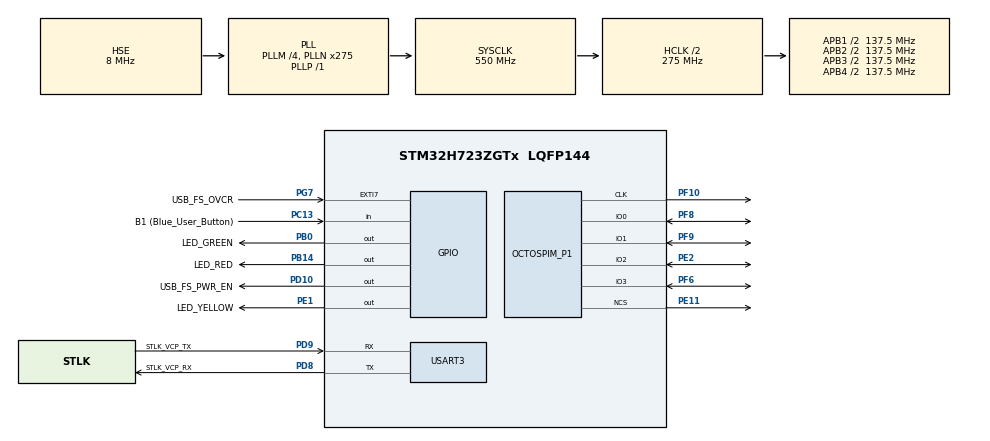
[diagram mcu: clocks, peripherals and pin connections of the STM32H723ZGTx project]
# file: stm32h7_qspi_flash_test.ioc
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CORTEX_M7.CPU_DCache=Enabled
CORTEX_M7.CPU_ICache=Enabled
CORTEX_M7.MPU_Control=__NULL
CORTEX_M7.default_mode_Activation=0
Mcu.Family=STM32H7
Mcu.Name=STM32H723ZGTx
Mcu.Package=LQFP144
Mdma.MDMA_Channel0.OCTOSPI1_FIFO_TH.0.BlockCount=0
Mdma.MDMA_Channel0.OCTOSPI1_FIFO_TH.0.BlockDataLength=0
Mdma.MDMA_Channel0.OCTOSPI1_FIFO_TH.0.BufferTransferLength=1
Mdma.MDMA_Channel0.OCTOSPI1_FIFO_TH.0.CircularMode=MDMA_LINEAR_LIST
Mdma.MDMA_Channel0.OCTOSPI1_FIFO_TH.0.DataAlignment=MDMA_DATAALIGN_PACKENABLE
Mdma.MDMA_Channel0.OCTOSPI1_FIFO_TH.0.DestBlockAddressOffset=0
Mdma.MDMA_Channel0.OCTOSPI1_FIFO_TH.0.DestBurst=MDMA_DEST_BURST_SINGLE
Mdma.MDMA_Channel0.OCTOSPI1_FIFO_TH.0.DestDataSize=MDMA_DEST_DATASIZE_BYTE
Mdma.MDMA_Channel0.OCTOSPI1_FIFO_TH.0.DestinationInc=MDMA_DEST_INC_BYTE
Mdma.MDMA_Channel0.OCTOSPI1_FIFO_TH.0.DstAddress=0
Mdma.MDMA_Channel0.OCTOSPI1_FIFO_TH.0.Endianness=MDMA_LITTLE_ENDIANNESS_PRESERVE
Mdma.MDMA_Channel0.OCTOSPI1_FIFO_TH.0.Instance=MDMA_Channel0
Mdma.MDMA_Channel0.OCTOSPI1_FIFO_TH.0.MaskAddress=0
Mdma.MDMA_Channel0.OCTOSPI1_FIFO_TH.0.MaskData=0
Mdma.MDMA_Channel0.OCTOSPI1_FIFO_TH.0.Priority=MDMA_PRIORITY_LOW
Mdma.MDMA_Channel0.OCTOSPI1_FIFO_TH.0.Rank=First
Mdma.MDMA_Channel0.OCTOSPI1_FIFO_TH.0.SourceBlockAddressOffset=0
Mdma.MDMA_Channel0.OCTOSPI1_FIFO_TH.0.SourceBurst=MDMA_SOURCE_BURST_SINGLE
Mdma.MDMA_Channel0.OCTOSPI1_FIFO_TH.0.SourceDataSize=MDMA_SRC_DATASIZE_BYTE
Mdma.MDMA_Channel0.OCTOSPI1_FIFO_TH.0.SourceInc=MDMA_SRC_INC_BYTE
Mdma.MDMA_Channel0.OCTOSPI1_FIFO_TH.0.SrcAddress=0
Mdma.MDMA_Channel0.OCTOSPI1_FIFO_TH.0.TransferTriggerMode=MDMA_BUFFER_TRANSFER
Mdma.MDMA_Channel0.Request0=OCTOSPI1_FIFO_TH
Mdma.MDMA_Channel0.RequestsNb=1
Mdma.RequestSet0=MDMA_Channel0
Mdma.RequestSetsNb=1
NVIC.MDMA_IRQn=true\:0\:0\:false\:false\:true\:false\:true\:true
NVIC.OCTOSPI1_IRQn=true\:0\:0\:false\:false\:true\:true\:true\:true
NVIC.PriorityGroup=NVIC_PRIORITYGROUP_4
NVIC.USART3_IRQn=true\:0\:0\:false\:false\:true\:true\:true\:true
OCTOSPI1.ChipSelectHighTime=2
OCTOSPI1.ClockPrescaler=1
OCTOSPI1.DeviceSize=17
OCTOSPI1.FifoThreshold=1
OCTOSPI1.MemoryType=HAL_OSPI_MEMTYPE_MICRON
PA13(JTMS/SWDIO).GPIO_Label=SWDIO
PA13(JTMS/SWDIO).Mode=Trace_Asynchronous_SW
PA13(JTMS/SWDIO).Signal=DEBUG_JTMS-SWDIO
PA14(JTCK/SWCLK).GPIO_Label=SWCLK
PA14(JTCK/SWCLK).Mode=Trace_Asynchronous_SW
PA14(JTCK/SWCLK).Signal=DEBUG_JTCK-SWCLK
PB0.GPIO_Label=LED_GREEN
PB0.Signal=GPIO_Output
PB14.GPIO_Label=LED_RED
PB14.Signal=GPIO_Output
PB3(JTDO/TRACESWO).GPIO_Label=SWO
PB3(JTDO/TRACESWO).Mode=Trace_Asynchronous_SW
PB3(JTDO/TRACESWO).Signal=DEBUG_JTDO-SWO
PC13.GPIO_Label=B1 (Blue_User_Button)
PC13.Signal=GPIO_Input
PC14-OSC32_IN.Mode=LSE-External-Oscillator
PC14-OSC32_IN.Signal=RCC_OSC32_IN
PC15-OSC32_OUT.Mode=LSE-External-Oscillator
PC15-OSC32_OUT.Signal=RCC_OSC32_OUT
PD10.GPIO_Label=USB_FS_PWR_EN
PD10.Signal=GPIO_Output
PD8.GPIO_Label=STLK_VCP_RX
PD8.Mode=Asynchronous
PD8.Signal=USART3_TX
PD9.GPIO_Label=STLK_VCP_TX
PD9.Mode=Asynchronous
PD9.Signal=USART3_RX
PE1.GPIO_Label=LED_YELLOW
PE1.Signal=GPIO_Output
PE11.Mode=OCTOSPI1_Port1_NCS
PE11.Signal=OCTOSPIM_P1_NCS
PE2.Mode=OCTOSPI1_IOL_Port1L
PE2.Signal=OCTOSPIM_P1_IO2
PF10.Mode=O1_P1_CLK
PF10.Signal=OCTOSPIM_P1_CLK
PF6.Mode=OCTOSPI1_IOL_Port1L
PF6.Signal=OCTOSPIM_P1_IO3
PF8.Mode=OCTOSPI1_IOL_Port1L
PF8.Signal=OCTOSPIM_P1_IO0
PF9.Mode=OCTOSPI1_IOL_Port1L
PF9.Signal=OCTOSPIM_P1_IO1
PG7.GPIO_Label=USB_FS_OVCR
PG7.Signal=GPXTI7
PH0-OSC_IN.GPIO_Label=MCO
PH0-OSC_IN.Mode=HSE-External-Clock-Source
PH0-OSC_IN.Signal=RCC_OSC_IN
ProjectManager.HeapSize=0x200
ProjectManager.StackSize=0x400
ProjectManager.TargetToolchain=STM32CubeIDE
RCC.ADCFreq_Value=160000000
RCC.APB1Freq_Value=137500000
RCC.APB2Freq_Value=137500000
RCC.APB3Freq_Value=137500000
RCC.APB4Freq_Value=137500000
RCC.CortexFreq_Value=550000000
RCC.D1PPRE=RCC_APB3_DIV2
RCC.D2PPRE1=RCC_APB1_DIV2
RCC.D2PPRE2=RCC_APB2_DIV2
RCC.D3PPRE=RCC_APB4_DIV2
RCC.DIVM1=4
RCC.DIVM2=1
RCC.DIVN1=275
RCC.DIVN2=40
RCC.DIVP1=1
RCC.DIVQ1=15
RCC.DIVR1=4
RCC.DIVR2=8
RCC.HCLKFreq_Value=275000000
RCC.HPRE=RCC_HCLK_DIV2
RCC.HSE_VALUE=8000000
RCC.PLLFRACN=0
RCC.PLLSourceVirtual=RCC_PLLSOURCE_HSE
RCC.QSPICLockSelection=RCC_OSPICLKSOURCE_PLL
RCC.SYSCLKFreq_VALUE=550000000
RCC.SYSCLKSource=RCC_SYSCLKSOURCE_PLLCLK
RCC.USBCLockSelection=RCC_USBCLKSOURCE_HSI48
RCC.USBFreq_Value=48000000
USART3.VirtualMode-Asynchronous=VM_ASYNC
VP_OCTOSPI1_VS_quad.Mode=quad_mode
VP_RTC_VS_RTC_Activate.Mode=RTC_Enabled
VP_RTC_VS_RTC_Calendar.Mode=RTC_Calendar
board=NUCLEO-H723ZG

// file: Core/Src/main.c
/* USER CODE BEGIN Header */
/**
  ******************************************************************************
  * @file           : main.c
  * @brief          : Main program body
  ******************************************************************************
  * @attention
  *
  * Copyright (c) 2022 STMicroelectronics.
  * All rights reserved.
  *
  * This software is licensed under terms that can be found in the LICENSE file
  * in the root directory of this software component.
  * If no LICENSE file comes with this software, it is provided AS-IS.
  *
  ******************************************************************************
  */
/* USER CODE END Header */
#include "main.h"

/* USER CODE BEGIN Includes */
#include "w25q_mem.h"
#include "stdio.h"
/* USER CODE END Includes */

OSPI_HandleTypeDef hospi1;
MDMA_HandleTypeDef hmdma_octospi1_fifo_th;

RTC_HandleTypeDef hrtc;

UART_HandleTypeDef huart3;

/* USER CODE BEGIN PV */
OSPI_RegularCmdTypeDef com;
/* USER CODE END PV */

void SystemClock_Config(void);
static void MX_GPIO_Init(void);
static void MX_MDMA_Init(void);
static void MX_OCTOSPI1_Init(void);
static void MX_USART3_UART_Init(void);
static void MX_RTC_Init(void);
/* USER CODE BEGIN PFP */
uint8_t rxData[2];

int _write(int fd, char *str, int len)
{
	for(int i=0; i<len; i++)
	{
		HAL_UART_Transmit(&huart3, (uint8_t *)&str[i], 1, 0xFFFF);
	}
	return len;
}

void HAL_UART_RxCpltCallback(UART_HandleTypeDef *huart) {

    /*
        This will be called once data is received successfully,
        via interrupts.
    */

     /*
       loop back received data
     */
     HAL_UART_Receive_IT(&huart3, rxData, 1);
     HAL_UART_Transmit(&huart3, rxData, 1, 1000);
}
/* USER CODE END PFP */

int main(void)
{
  /* USER CODE BEGIN 1 */
  uint8_t rxData;
  W25Q_STATE res_W25Q;
  uint8_t buf[20] = {0x01, 0x02 ,0x03, 0x04, 0x00 };
  uint8_t temp_buf[2] = {0x00, 0x00};
  /* USER CODE END 1 */

  /* Enable I-Cache---------------------------------------------------------*/
  SCB_EnableICache();

  /* Enable D-Cache---------------------------------------------------------*/
  SCB_EnableDCache();

  /* MCU Configuration--------------------------------------------------------*/

  /* Reset of all peripherals, Initializes the Flash interface and the Systick. */
  HAL_Init();

  /* Configure the system clock */
  SystemClock_Config();

  /* Initialize all configured peripherals */
  MX_GPIO_Init();
  MX_MDMA_Init();
  MX_OCTOSPI1_Init();
  MX_USART3_UART_Init();
  MX_RTC_Init();
  /* USER CODE BEGIN 2 */
  //SCB_CleanDCache();
  //SCB_CleanInvalidateDCache();
  //SCB_InvalidateICache
  HAL_UART_Receive_IT(&huart3, rxData, 1);
  printf("hello world !! \r\n");
  // instruction test
#if 0
  com.InstructionMode = HAL_OSPI_INSTRUCTION_1_LINE;//HAL_OSPI_INSTRUCTION_4_LINES;//QSPI_INSTRUCTION_1_LINE; // QSPI_INSTRUCTION_...
  com.Instruction = 0xAB;	 // Command
  com.AddressSize = HAL_OSPI_ADDRESS_16_BITS;//HAL_OSPI_ADDRESS_24_BITS;
  com.AddressMode = HAL_OSPI_ADDRESS_1_LINE;//HAL_OSPI_ADDRESS_4_LINES;//QSPI_ADDRESS_1_LINE;
  com.Address = 0x00000002;

  com.AlternateBytesMode = HAL_OSPI_ALTERNATE_BYTES_NONE;
  com.AlternateBytes = HAL_OSPI_ALTERNATE_BYTES_NONE;
  com.AlternateBytesSize = HAL_OSPI_ALTERNATE_BYTES_NONE;

  com.DummyCycles = 0;
  com.DataMode = HAL_OSPI_DATA_1_LINE;//HAL_OSPI_DATA_4_LINES;
  com.NbData = 4;

  com.DataDtrMode = HAL_OSPI_DATA_DTR_DISABLE;
  //com.DdrHoldHalfCycle = QSPI_DDR_HHC_ANALOG_DELAY;
  com.SIOOMode = HAL_OSPI_SIOO_INST_EVERY_CMD;
  if (HAL_OSPI_Command(&hospi1, &com, HAL_OSPI_TIMEOUT_DEFAULT_VALUE)
		!= HAL_OK)
	return W25Q_SPI_ERR;
  printf("qspi command !! \r\n");
  if (HAL_OSPI_Transmit(&hospi1, buf, HAL_OSPI_TIMEOUT_DEFAULT_VALUE)
		!= HAL_OK)
	return W25Q_SPI_ERR;
  printf("test complete !! \r\n");
#endif
#if 1
    com.InstructionMode = HAL_OSPI_INSTRUCTION_1_LINE;//HAL_OSPI_INSTRUCTION_4_LINES;//QSPI_INSTRUCTION_1_LINE; // QSPI_INSTRUCTION_...
    com.Instruction = 0xAB;    // Command
    com.AddressSize = HAL_OSPI_ADDRESS_24_BITS;
    com.AddressMode = HAL_OSPI_ADDRESS_1_LINE;//HAL_OSPI_ADDRESS_4_LINES;//QSPI_ADDRESS_1_LINE;
    com.Address = 0x00000000;

    com.AlternateBytesMode = HAL_OSPI_ALTERNATE_BYTES_NONE;
    com.AlternateBytes = HAL_OSPI_ALTERNATE_BYTES_NONE;
    com.AlternateBytesSize = HAL_OSPI_ALTERNATE_BYTES_NONE;

    com.DummyCycles = 0;
    com.DataMode = HAL_OSPI_DATA_1_LINE;//HAL_OSPI_DATA_4_LINES;
    com.NbData = 1;

    com.DataDtrMode = HAL_OSPI_DATA_DTR_DISABLE;
    //com.DdrHoldHalfCycle = QSPI_DDR_HHC_ANALOG_DELAY;
    com.SIOOMode = HAL_OSPI_SIOO_INST_EVERY_CMD;
    if (HAL_OSPI_Command(&hospi1, &com, HAL_OSPI_TIMEOUT_DEFAULT_VALUE)
          != HAL_OK)
      return W25Q_SPI_ERR;
    printf("qspi command !! \r\n");
    if (HAL_OSPI_Receive(&hospi1, temp_buf, HAL_OSPI_TIMEOUT_DEFAULT_VALUE)
			!= HAL_OK) {
		printf("[%s > %s : %d]Recv Error \r\n",__FILE__, __FUNCTION__, __LINE__ );
		return W25Q_SPI_ERR;
	}
    printf("ID: %x \r\n", temp_buf[0]);
    temp_buf[0] = 0;
    printf("test complete !! \r\n");
    if (HAL_OSPI_Command(&hospi1, &com, HAL_OSPI_TIMEOUT_DEFAULT_VALUE)
          != HAL_OK)
      return W25Q_SPI_ERR;
    printf("qspi command !! \r\n");
    if (HAL_OSPI_Receive(&hospi1, temp_buf, HAL_OSPI_TIMEOUT_DEFAULT_VALUE)
			!= HAL_OK) {
		printf("[%s > %s : %d]Recv Error \r\n",__FILE__, __FUNCTION__, __LINE__ );
		return W25Q_SPI_ERR;
	}
    printf("ID 2: %x \r\n", temp_buf[0]);
    W25Q_ReadID(temp_buf);
    printf("ID 3: %x \r\n", temp_buf[0]);
#endif

  /* USER CODE END 2 */

  /* Infinite loop */
  /* USER CODE BEGIN WHILE */
#if 1
  res_W25Q = W25Q_Init();		 // init the chip
  printf("Init RES = %d \r\n", (uint8_t)res_W25Q);
	res_W25Q = W25Q_EraseSector(0); // erase 4K sector - required before recording
  printf("W25Q_EraseSector RES = %d \r\n", (uint8_t)res_W25Q);

	// make test data
	uint8_t byte = 0x65;
	uint8_t byte_read = 0;
	uint8_t in_page_shift = 0;
	uint8_t page_number = 0;
	// write data
	printf("input byte : %02X\r\n", byte);
	res_W25Q = W25Q_ProgramByte(byte, in_page_shift, page_number);
  printf("W25Q_ProgramByte RES = %d \r\n", (uint8_t)res_W25Q);
	// read data
	res_W25Q = W25Q_ReadByte(&byte_read, in_page_shift, page_number);
  printf("W25Q_ReadByte RES = %d \r\n", (uint8_t)res_W25Q);
	printf("output byte : %02X\r\n", byte_read);
#if 1
	// make example structure
	struct STR {
		uint8_t abc;
		uint32_t bca;
		char str[4];
		float gg;
	}_str,_str2;

	// fill instance
	_str.abc = 0x20;
	_str.bca = 0x3F3F4A;
	_str.str[0] = 'a';
	_str.str[1] = 'b';
	_str.str[2] = 'c';
	_str.str[3] = '\0';
	_str.gg = 12.658;

	uint16_t len = sizeof(_str);	// length of structure in bytes
	printf("input data \r\n abc : 0x%02X\r\n dca : 0x%06X\r\n str : %s\r\n gg : %f|%04X\r\n", _str.abc, _str.bca, _str.str, _str.gg, _str.gg);
	// program structure
	W25Q_ProgramData((uint8_t*) &_str, len, ++in_page_shift, page_number);
	// read structure to another instance
	//HAL_Delay(20);
	W25Q_ReadData((uint8_t*) &_str2, len, in_page_shift, page_number);
	printf("output data \r\n abc : 0x%02X\r\n dca : 0x%06X\r\n str : %s\r\n gg : %f|%04X\r\n", _str2.abc, _str2.bca, _str2.str, _str2.gg, _str2.gg);
  #endif
#endif
  while (1)
  {
    /* USER CODE END WHILE */

  }
}

void SystemClock_Config(void)
{
  RCC_OscInitTypeDef RCC_OscInitStruct = {0};
  RCC_ClkInitTypeDef RCC_ClkInitStruct = {0};

  /** Supply configuration update enable
  */
  HAL_PWREx_ConfigSupply(PWR_LDO_SUPPLY);

  /** Configure the main internal regulator output voltage
  */
  __HAL_PWR_VOLTAGESCALING_CONFIG(PWR_REGULATOR_VOLTAGE_SCALE0);

  while(!__HAL_PWR_GET_FLAG(PWR_FLAG_VOSRDY)) {}

  /** Initializes the RCC Oscillators according to the specified parameters
  * in the RCC_OscInitTypeDef structure.
  */
  RCC_OscInitStruct.OscillatorType = RCC_OSCILLATORTYPE_LSI|RCC_OSCILLATORTYPE_HSE;
  RCC_OscInitStruct.HSEState = RCC_HSE_BYPASS;
  RCC_OscInitStruct.LSIState = RCC_LSI_ON;
  RCC_OscInitStruct.PLL.PLLState = RCC_PLL_ON;
  RCC_OscInitStruct.PLL.PLLSource = RCC_PLLSOURCE_HSE;
  RCC_OscInitStruct.PLL.PLLM = 4;
  RCC_OscInitStruct.PLL.PLLN = 275;
  RCC_OscInitStruct.PLL.PLLP = 1;
  RCC_OscInitStruct.PLL.PLLQ = 15;
  RCC_OscInitStruct.PLL.PLLR = 4;
  RCC_OscInitStruct.PLL.PLLRGE = RCC_PLL1VCIRANGE_1;
  RCC_OscInitStruct.PLL.PLLVCOSEL = RCC_PLL1VCOWIDE;
  RCC_OscInitStruct.PLL.PLLFRACN = 0;
  if (HAL_RCC_OscConfig(&RCC_OscInitStruct) != HAL_OK)
  {
    Error_Handler();
  }

  /** Initializes the CPU, AHB and APB buses clocks
  */
  RCC_ClkInitStruct.ClockType = RCC_CLOCKTYPE_HCLK|RCC_CLOCKTYPE_SYSCLK
                              |RCC_CLOCKTYPE_PCLK1|RCC_CLOCKTYPE_PCLK2
                              |RCC_CLOCKTYPE_D3PCLK1|RCC_CLOCKTYPE_D1PCLK1;
  RCC_ClkInitStruct.SYSCLKSource = RCC_SYSCLKSOURCE_PLLCLK;
  RCC_ClkInitStruct.SYSCLKDivider = RCC_SYSCLK_DIV1;
  RCC_ClkInitStruct.AHBCLKDivider = RCC_HCLK_DIV2;
  RCC_ClkInitStruct.APB3CLKDivider = RCC_APB3_DIV2;
  RCC_ClkInitStruct.APB1CLKDivider = RCC_APB1_DIV2;
  RCC_ClkInitStruct.APB2CLKDivider = RCC_APB2_DIV2;
  RCC_ClkInitStruct.APB4CLKDivider = RCC_APB4_DIV2;

  if (HAL_RCC_ClockConfig(&RCC_ClkInitStruct, FLASH_LATENCY_3) != HAL_OK)
  {
    Error_Handler();
  }
}

static void MX_OCTOSPI1_Init(void)
{

  OSPIM_CfgTypeDef sOspiManagerCfg = {0};

  /* OCTOSPI1 parameter configuration*/
  hospi1.Instance = OCTOSPI1;
  hospi1.Init.FifoThreshold = 1;
  hospi1.Init.DualQuad = HAL_OSPI_DUALQUAD_DISABLE;
  hospi1.Init.MemoryType = HAL_OSPI_MEMTYPE_MICRON;
  hospi1.Init.DeviceSize = 17;
  hospi1.Init.ChipSelectHighTime = 2;
  hospi1.Init.FreeRunningClock = HAL_OSPI_FREERUNCLK_DISABLE;
  hospi1.Init.ClockMode = HAL_OSPI_CLOCK_MODE_0;
  hospi1.Init.WrapSize = HAL_OSPI_WRAP_NOT_SUPPORTED;
  hospi1.Init.ClockPrescaler = 1;
  hospi1.Init.SampleShifting = HAL_OSPI_SAMPLE_SHIFTING_NONE;
  hospi1.Init.DelayHoldQuarterCycle = HAL_OSPI_DHQC_DISABLE;
  hospi1.Init.ChipSelectBoundary = 0;
  hospi1.Init.DelayBlockBypass = HAL_OSPI_DELAY_BLOCK_BYPASSED;
  hospi1.Init.MaxTran = 0;
  hospi1.Init.Refresh = 0;
  if (HAL_OSPI_Init(&hospi1) != HAL_OK)
  {
    Error_Handler();
  }
  sOspiManagerCfg.ClkPort = 1;
  sOspiManagerCfg.NCSPort = 1;
  sOspiManagerCfg.IOLowPort = HAL_OSPIM_IOPORT_1_LOW;
  if (HAL_OSPIM_Config(&hospi1, &sOspiManagerCfg, HAL_OSPI_TIMEOUT_DEFAULT_VALUE) != HAL_OK)
  {
    Error_Handler();
  }

}

static void MX_RTC_Init(void)
{

  RTC_TimeTypeDef sTime = {0};
  RTC_DateTypeDef sDate = {0};

  /** Initialize RTC Only
  */
  hrtc.Instance = RTC;
  hrtc.Init.HourFormat = RTC_HOURFORMAT_24;
  hrtc.Init.AsynchPrediv = 127;
  hrtc.Init.SynchPrediv = 255;
  hrtc.Init.OutPut = RTC_OUTPUT_DISABLE;
  hrtc.Init.OutPutPolarity = RTC_OUTPUT_POLARITY_HIGH;
  hrtc.Init.OutPutType = RTC_OUTPUT_TYPE_OPENDRAIN;
  hrtc.Init.OutPutRemap = RTC_OUTPUT_REMAP_NONE;
  if (HAL_RTC_Init(&hrtc) != HAL_OK)
  {
    Error_Handler();
  }

  /** Initialize RTC and set the Time and Date
  */
  sTime.Hours = 0x0;
  sTime.Minutes = 0x0;
  sTime.Seconds = 0x0;
  sTime.DayLightSaving = RTC_DAYLIGHTSAVING_NONE;
  sTime.StoreOperation = RTC_STOREOPERATION_RESET;
  if (HAL_RTC_SetTime(&hrtc, &sTime, RTC_FORMAT_BCD) != HAL_OK)
  {
    Error_Handler();
  }
  sDate.WeekDay = RTC_WEEKDAY_MONDAY;
  sDate.Month = RTC_MONTH_JANUARY;
  sDate.Date = 0x1;
  sDate.Year = 0x0;

  if (HAL_RTC_SetDate(&hrtc, &sDate, RTC_FORMAT_BCD) != HAL_OK)
  {
    Error_Handler();
  }

}

static void MX_USART3_UART_Init(void)
{

  huart3.Instance = USART3;
  huart3.Init.BaudRate = 115200;
  huart3.Init.WordLength = UART_WORDLENGTH_8B;
  huart3.Init.StopBits = UART_STOPBITS_1;
  huart3.Init.Parity = UART_PARITY_NONE;
  huart3.Init.Mode = UART_MODE_TX_RX;
  huart3.Init.HwFlowCtl = UART_HWCONTROL_NONE;
  huart3.Init.OverSampling = UART_OVERSAMPLING_16;
  huart3.Init.OneBitSampling = UART_ONE_BIT_SAMPLE_DISABLE;
  huart3.Init.ClockPrescaler = UART_PRESCALER_DIV1;
  huart3.AdvancedInit.AdvFeatureInit = UART_ADVFEATURE_NO_INIT;
  if (HAL_UART_Init(&huart3) != HAL_OK)
  {
    Error_Handler();
  }
  if (HAL_UARTEx_SetTxFifoThreshold(&huart3, UART_TXFIFO_THRESHOLD_1_8) != HAL_OK)
  {
    Error_Handler();
  }
  if (HAL_UARTEx_SetRxFifoThreshold(&huart3, UART_RXFIFO_THRESHOLD_1_8) != HAL_OK)
  {
    Error_Handler();
  }
  if (HAL_UARTEx_DisableFifoMode(&huart3) != HAL_OK)
  {
    Error_Handler();
  }

}

/**
  * Enable MDMA controller clock
  */
static void MX_MDMA_Init(void)
{

  /* MDMA controller clock enable */
  __HAL_RCC_MDMA_CLK_ENABLE();
  /* Local variables */

  /* MDMA interrupt initialization */
  /* MDMA_IRQn interrupt configuration */
  HAL_NVIC_SetPriority(MDMA_IRQn, 0, 0);
  HAL_NVIC_EnableIRQ(MDMA_IRQn);

}

static void MX_GPIO_Init(void)
{
  GPIO_InitTypeDef GPIO_InitStruct = {0};

  /* GPIO Ports Clock Enable */
  __HAL_RCC_GPIOE_CLK_ENABLE();
  __HAL_RCC_GPIOC_CLK_ENABLE();
  __HAL_RCC_GPIOF_CLK_ENABLE();
  __HAL_RCC_GPIOH_CLK_ENABLE();
  __HAL_RCC_GPIOB_CLK_ENABLE();
  __HAL_RCC_GPIOD_CLK_ENABLE();
  __HAL_RCC_GPIOG_CLK_ENABLE();
  __HAL_RCC_GPIOA_CLK_ENABLE();

  /*Configure GPIO pin Output Level */
  HAL_GPIO_WritePin(GPIOB, LED_GREEN_Pin|LED_RED_Pin, GPIO_PIN_RESET);

  /*Configure GPIO pin Output Level */
  HAL_GPIO_WritePin(USB_FS_PWR_EN_GPIO_Port, USB_FS_PWR_EN_Pin, GPIO_PIN_RESET);

  /*Configure GPIO pin Output Level */
  HAL_GPIO_WritePin(LED_YELLOW_GPIO_Port, LED_YELLOW_Pin, GPIO_PIN_RESET);

  /*Configure GPIO pin : B1_Pin */
  GPIO_InitStruct.Pin = B1_Pin;
  GPIO_InitStruct.Mode = GPIO_MODE_INPUT;
  GPIO_InitStruct.Pull = GPIO_NOPULL;
  HAL_GPIO_Init(B1_GPIO_Port, &GPIO_InitStruct);

  /*Configure GPIO pins : LED_GREEN_Pin LED_RED_Pin */
  GPIO_InitStruct.Pin = LED_GREEN_Pin|LED_RED_Pin;
  GPIO_InitStruct.Mode = GPIO_MODE_OUTPUT_PP;
  GPIO_InitStruct.Pull = GPIO_NOPULL;
  GPIO_InitStruct.Speed = GPIO_SPEED_FREQ_LOW;
  HAL_GPIO_Init(GPIOB, &GPIO_InitStruct);

  /*Configure GPIO pin : USB_FS_PWR_EN_Pin */
  GPIO_InitStruct.Pin = USB_FS_PWR_EN_Pin;
  GPIO_InitStruct.Mode = GPIO_MODE_OUTPUT_PP;
  GPIO_InitStruct.Pull = GPIO_NOPULL;
  GPIO_InitStruct.Speed = GPIO_SPEED_FREQ_LOW;
  HAL_GPIO_Init(USB_FS_PWR_EN_GPIO_Port, &GPIO_InitStruct);

  /*Configure GPIO pin : USB_FS_OVCR_Pin */
  GPIO_InitStruct.Pin = USB_FS_OVCR_Pin;
  GPIO_InitStruct.Mode = GPIO_MODE_IT_RISING;
  GPIO_InitStruct.Pull = GPIO_NOPULL;
  HAL_GPIO_Init(USB_FS_OVCR_GPIO_Port, &GPIO_InitStruct);

  /*Configure GPIO pin : LED_YELLOW_Pin */
  GPIO_InitStruct.Pin = LED_YELLOW_Pin;
  GPIO_InitStruct.Mode = GPIO_MODE_OUTPUT_PP;
  GPIO_InitStruct.Pull = GPIO_NOPULL;
  GPIO_InitStruct.Speed = GPIO_SPEED_FREQ_LOW;
  HAL_GPIO_Init(LED_YELLOW_GPIO_Port, &GPIO_InitStruct);

}

void Error_Handler(void)
{
  __disable_irq();
  while (1)
  {
  }
}
